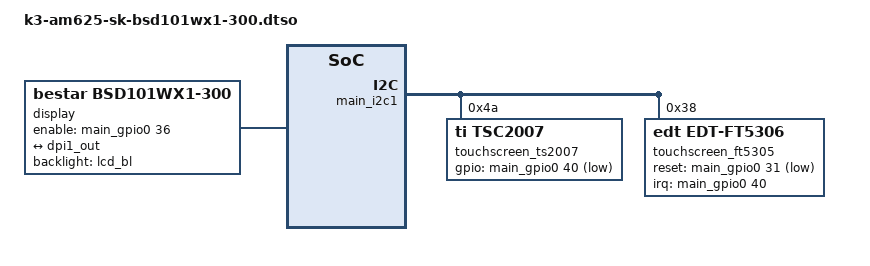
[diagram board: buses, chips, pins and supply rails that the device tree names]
/dts-v1/;
/plugin/;

#include <dt-bindings/gpio/gpio.h>
#include <dt-bindings/interrupt-controller/irq.h>
#include "k3-pinctrl.h"

/ {
	fragment@0 {
		target-path = "/";
		__overlay__ {
			display {
				compatible = "bestar,bsd101wx1-300";
				backlight = <&lcd_bl>;
				enable-gpios = <&main_gpio0 36 GPIO_ACTIVE_HIGH>;      /* 0x24 */

				port {
					lcd_in0: endpoint {
						remote-endpoint = <&dpi1_out>;
					};
				};
			};
		};
	};

	fragment@1 {
		target = <&main_pmx0>;
		__overlay__ {
			mango_ts_pins_default: mango_ts-pins-default {
				pinctrl-single,pins = <
					AM62X_IOPAD(0x0a4, PIN_INPUT, 7)   /* (M22) GPMC0_DIR.GPIO0_40  touch IRQ   (0x50007) */
					AM62X_IOPAD(0x07c, PIN_OUTPUT, 7)  /* (P25) GPMC0_CLK.GPIO0_31  touch RESET (0x10007) */
				>;
			};
		};
	};

	fragment@2 {
		target = <&main_i2c1>;
		__overlay__ {
			#address-cells = <1>;
			#size-cells = <0>;

			touchscreen_ts2007: tsc2007@4a {
				compatible = "ti,tsc2007";
				reg = <0x4a>;
				gpios = <&main_gpio0 40 GPIO_ACTIVE_LOW>;             /* pendown */
				ti,x-plate-ohms = <660>;                              /* 0x294 */
				linux,wakeup;
			};

			touchscreen_ft5305: edt-ft5306@38 {
				status = "okay";
				compatible = "edt,edt-ft5306", "edt,edt-ft5x06";
				pinctrl-names = "default";
				pinctrl-0 = <&mango_ts_pins_default>;
				reg = <0x38>;
				interrupt-parent = <&main_gpio0>;
				interrupts = <40 IRQ_TYPE_EDGE_FALLING>;              /* 0x28 0x02 */
				reset-gpios = <&main_gpio0 31 GPIO_ACTIVE_LOW>;       /* 0x1f 0x01 */
				touchscreen-size-x = <1280>;                          /* 0x500 */
				touchscreen-size-y = <800>;                           /* 0x320 */
				wakeup-source;
			};
		};
	};

	fragment@3 {
		target = <&dss_ports>;
		__overlay__ {
			#address-cells = <1>;
			#size-cells = <0>;

			port@1 {                                   /* DSS VP2 = parallel DPI (VOUT0) */
				reg = <1>;
				dpi1_out: endpoint {
					remote-endpoint = <&lcd_in0>;
				};
			};
		};
	};
};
